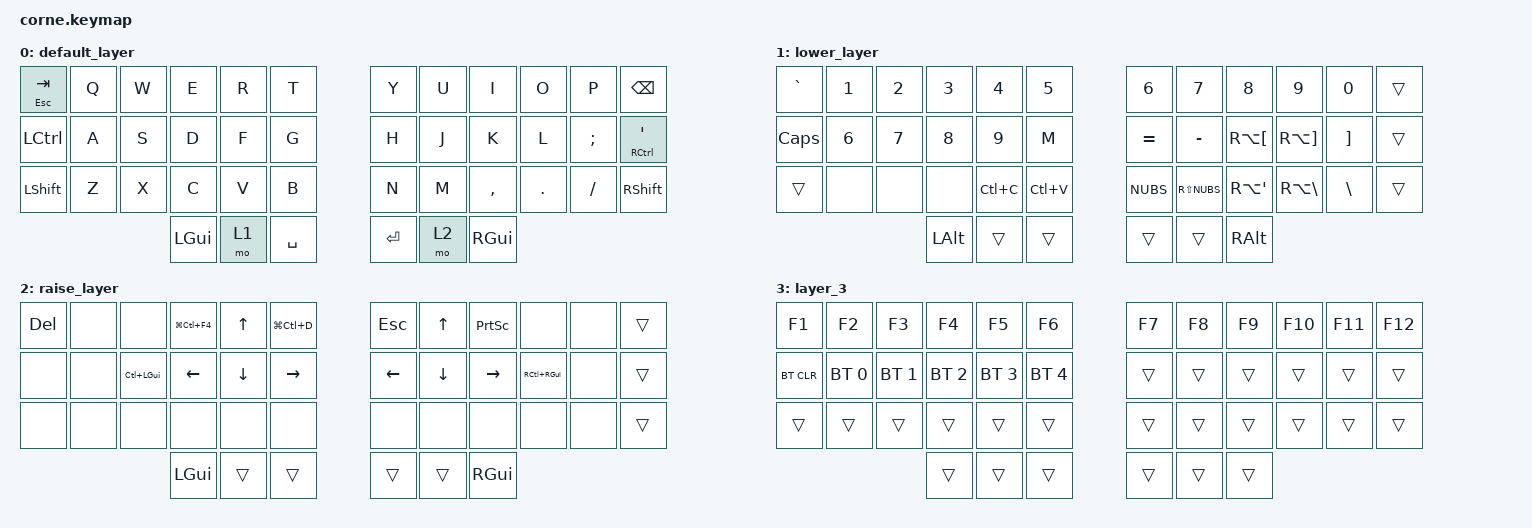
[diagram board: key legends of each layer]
/*
 * Copyright (c) 2020 The ZMK Contributors
 *
 * SPDX-License-Identifier: MIT
 */

#include <behaviors.dtsi>
#include <dt-bindings/zmk/bt.h>
#include <dt-bindings/zmk/keys.h>

/ {
    behaviors {
        hml: hml {
            compatible = "zmk,behavior-hold-tap";
            label = "HML";
            bindings = <&kp>, <&kp>;

            #binding-cells = <2>;
            tapping-term-ms = <200>;
            hold-trigger-key-positions = <0 1 2 3 4 5 12 13 14 15 16 17 24 25 26 27 28 29 36 37 38>;
        };

        hmr: hmr {
            compatible = "zmk,behavior-hold-tap";
            label = "HMR";
            bindings = <&kp>, <&kp>;

            #binding-cells = <2>;
            tapping-term-ms = <200>;
            hold-trigger-key-positions = <6 7 8 9 10 11 18 19 20 21 22 23 30 31 32 33 34 35 39 40 41>;
        };
    };

    keymap {
        compatible = "zmk,keymap";

        default_layer {
            // -----------------------------------------------------------------------------------------
            // | ESC TAB |  Q  |  W  |  E  |  R  |  T  |   |  Y  |  U   |  I  |  O  |  P  |   BSPC  |
            // |   CTRL  |  A  |  S  |  D  |  F  |  G  |   |  H  |  J   |  K  |  L  |  ;  | ' CTRL  |
            // |   SHFT  |  Z  |  X  |  C  |  V  |  B  |   |  N  |  M   |  ,  |  .  |  /  |   SHFT  |
            //                       | GUI | LWR | SPC |   | ENT | RSE  | GUI |

            bindings = <
&hml ESC TAB  &kp Q  &kp W  &kp E         &kp R  &kp T        &kp Y    &kp U  &kp I          &kp O    &kp P     &kp BSPC
&kp LCTRL     &kp A  &kp S  &kp D         &kp F  &kp G        &kp H    &kp J  &kp K          &kp L    &kp SEMI  &hmr RCTRL SQT
&kp LSHFT     &kp Z  &kp X  &kp C         &kp V  &kp B        &kp N    &kp M  &kp COMMA      &kp DOT  &kp FSLH  &kp RSHFT
                            &kp LEFT_GUI  &mo 1  &kp SPACE    &kp RET  &mo 2  &kp RIGHT_GUI
            >;
        };

        lower_layer {
            // -----------------------------------------------------------------------------------------
            // |   ` |  1  |  2  |  3  |    4   |   5   |   |  6  |     7    |   8    |    9   |  0  |      |
            // | CAPS|  6  |  7  |  8  |    9   |   M   |   |  =  |     -    |  ALT[  |  ALT]  |  ]  |      |
            // |     |     |     |     |  CTRLc | CTRLv |   |  \  |  SHIFT\  |  ALT'  |  ALT\  |  \  |      |
            //                   | ALT |        |       |   |     |          |  ALT   |

            bindings = <
&kp GRAVE  &kp N1        &kp N2  &kp N3    &kp N4     &kp N5       &kp N6     &kp N7        &kp N8        &kp N9        &kp N0    &trans
&kp CAPS   &kp NUMBER_6  &kp N7  &kp N8    &kp N9     &kp M        &kp EQUAL  &kp MINUS     &kp RA(LBKT)  &kp RA(RBKT)  &kp RBKT  &trans
&trans     &none         &none   &none     &kp LC(C)  &kp LC(V)    &kp NUBS   &kp RS(NUBS)  &kp RA(APOS)  &kp RA(BSLH)  &kp BSLH  &trans
                                 &kp LALT  &trans     &trans       &trans     &trans        &kp RALT
            >;
        };

        raise_layer {
            // -----------------------------------------------------------------------------------------
            // |  DEL |     |          | GUIshftF4   |   UP  | GUIshftD |   |  ESC  |   UP  | PRINT |           |    |     |
            // | CTRL |     | CRTLgui  |     LFT     |  DWN  |   RGT    |   |  LFT  |  DWN  |  RGT  |  CRTLgui  |    |     |
            // | SHFT |     |          |             |       |          |   |       |       |       |           |    |     |
            //                                          | GUI |     |   |   |   |     | GUI |

            bindings = <
&kp DELETE  &none  &none             &kp LG(LC(F4))  &kp UP    &kp LG(LC(D))    &kp ESC   &kp UP    &kp PSCRN      &none              &none  &trans
&none       &none  &kp LC(LEFT_GUI)  &kp LEFT        &kp DOWN  &kp RIGHT        &kp LEFT  &kp DOWN  &kp RIGHT      &kp RC(RIGHT_GUI)  &none  &trans
&none       &none  &none             &none           &none     &none            &none     &none     &none          &none              &none  &trans
                                     &kp LEFT_GUI    &trans    &trans           &trans    &trans    &kp RIGHT_GUI
            >;
        };

        layer_3 {
            // -----------------------------------------------------------------------------------------
            // |   F1  |   F2  |  F3   |  F4   |   F5  |   F6  |   |  F7  |  F8  | F9 |  F10  |  F11  |  F12  |
            // | BTclr |  BT0  |  BT1  |  BT2  |  BT3  |  BT4  |   |      |      |    |       |       |       |
            // |       |       |       |       |       |       |   |      |      |    |       |       |       |
            //                         |       |       |       |   |      |      |    |  

            bindings = <
&kp F1      &kp F2        &kp F3        &kp F4        &kp F5        &kp F6          &kp F7  &kp F8  &kp F9  &kp F10  &kp F11  &kp F12
&bt BT_CLR  &bt BT_SEL 0  &bt BT_SEL 1  &bt BT_SEL 2  &bt BT_SEL 3  &bt BT_SEL 4    &trans  &trans  &trans  &trans   &trans   &trans
&trans      &trans        &trans        &trans        &trans        &trans          &trans  &trans  &trans  &trans   &trans   &trans
                                        &trans        &trans        &trans          &trans  &trans  &trans
            >;
        };
    };

    conditional_layers {
        compatible = "zmk,conditional-layers";

        layer3 {
            if-layers = <1 2>;
            then-layer = <3>;
        };
    };
};
